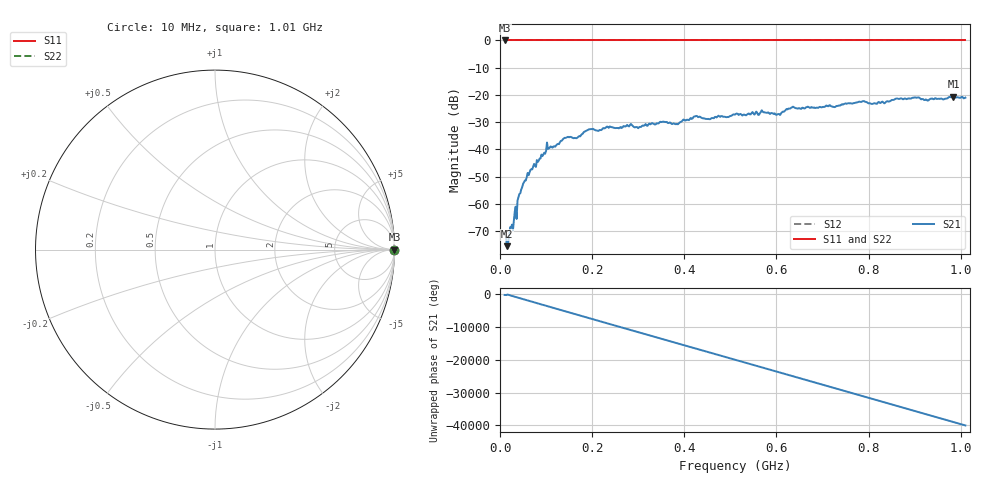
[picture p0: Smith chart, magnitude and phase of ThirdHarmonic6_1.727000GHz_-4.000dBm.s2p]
! 8/16/2025 8:47:40 PM
! C:\ANRITSUVNA\TEMP\TEMP.S2P
! CHANNEL.1
! TR.MEASUREMENT
! RAW.DATA
! RF.CORRECTION.OFF
! AVERAGING.OFF
! IF.BANDWIDTH: 5KHZ
! SWEEPTYPE:  FREQ.SWEEP(Linear)
! Reference Plane Port Info
! PORT:  PORT1  PORT2
! DISTANCE:  0  m  0  m
! TIME:  0  s  0  s
! PHASE.OFFSET:  0  deg.  0  deg.
! LOSS:  0  dB  0  dB
! REF.LOSS:  0  dB  0  dB
! REF.FREQ:  0  Hz  0  Hz
! Power Info
! POWER:  -20  dBm  -20  dBm
! EFF.POWER:  -20  dBm  -20  dBm
! SOURCE.ATTEN:  0  dB  0  dB
! TEST.ATTEN:  0  dB  0  dB
# GHZ S RI R 50.0
! FREQ.GHZ  S11RE  S11IM  S21RE  S21IM  S12RE  S12IM  S22RE  S22IM
!; PortSelection: Port_12
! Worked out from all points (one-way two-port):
!   501 points, 10 MHz to 1.01 GHz, reference 50 ohm
!   highest |S21| = -20.63 dB at 984 MHz (marker M1); lowest = -75.5 dB at 16 MHz (marker M2)
!   lowest |S11| = 0.0 dB at 10 MHz (marker M3)
!   |S11| at or under -10 dB: nowhere
!   |S22| runs from 0.0 to 0.0 dB; largest |S21 - S12| = 1.1
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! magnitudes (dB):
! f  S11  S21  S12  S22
! 10 MHz  0.0  -71.2  0.0  0.0
! 16 MHz  0.0  -75.5  0.0  0.0
! 32 MHz  0.0  -62.8  0.0  0.0
! 42 MHz  0.0  -56.3  0.0  0.0
! 46 MHz  0.0  -54.7  0.0  0.0
! 70 MHz  0.0  -47.3  0.0  0.0
! 106 MHz  0.0  -39.6  0.0  0.0
! 142 MHz  0.0  -35.8  0.0  0.0
! 178 MHz  0.0  -34.4  0.0  0.0
! 198 MHz  0.0  -32.5  0.0  0.0
! 344 MHz  0.0  -30.5  0.0  0.0
! 384 MHz  0.0  -30.6  0.0  0.0
! 424 MHz  0.0  -27.9  0.0  0.0
! 452 MHz  0.0  -28.8  0.0  0.0
! 510 MHz  0.0  -27.2  0.0  0.0
! 570 MHz  0.0  -26.1  0.0  0.0
! 604 MHz  0.0  -27.0  0.0  0.0
! 634 MHz  0.0  -24.5  0.0  0.0
! 678 MHz  0.0  -24.6  0.0  0.0
! 844 MHz  0.0  -22.4  0.0  0.0
! 984 MHz  0.0  -20.6  0.0  0.0
! 1.01 GHz  0.0  -21.0  0.0  0.0
